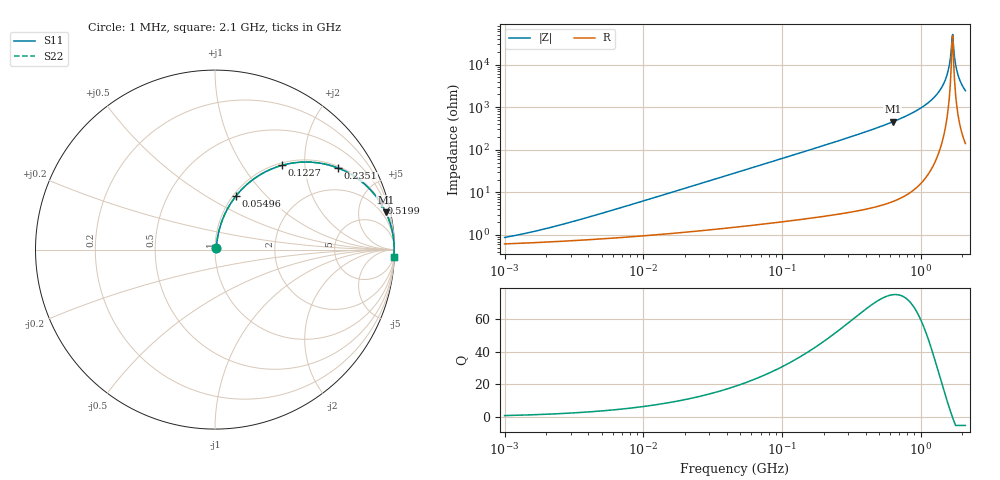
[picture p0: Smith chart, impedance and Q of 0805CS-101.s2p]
# MHz S MA R 50
!Freq  MagS11  AngS11  MagS21  AngS21  MagS12  AngS12  MagS22  AngS22
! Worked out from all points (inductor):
!   801 points, 1 MHz to 2.1 GHz, reference 50 ohm
!   read as one part in series: L = 99 nH near 3.671 MHz
!   highest Q = 74.7 at 629.5 MHz (marker M1), where L = 115 nH
!   self-resonance near 1.685 GHz
!   S11 on the Smith chart (normalised r, x): 1 MHz: 1.01, +0.01; 54.96 MHz: 1.03, +0.68; 122.7 MHz: 1.04, +1.53; 235.1 MHz: 1.06, +2.98; 519.9 MHz: 1.10, +7.14; 2.1 GHz: 4, -49
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1  0.008701 44.9  0.9939 -0.4  0.9939 -0.4  0.008701 44.9
3.601403  0.02346 70.1  0.9923 -1.3  0.9923 -1.3  0.02346 70.1
12.84667  0.0795 78.2  0.9868 -4.5  0.9868 -4.5  0.0795 78.2
45.82576  0.2709 71.3  0.9483 -15.7  0.9483 -15.7  0.2709 71.3
54.95565  0.3195 68.7  0.9326 -18.6  0.9326 -18.6  0.3195 68.7
122.7002  0.6006 51.5  0.7825 -36.9  0.7825 -36.9  0.6006 51.5
165.037  0.7112 43.3  0.686 -45.3  0.686 -45.3  0.7112 43.3
235.0899  0.8231 33.5  0.5519 -55.4  0.5519 -55.4  0.8231 33.5
519.8934  0.9595 15.6  0.2688 -73.6  0.2688 -73.6  0.9595 15.6
588.7085  0.9694 13.5  0.2328 -75.8  0.2328 -75.8  0.9694 13.5
629.4623  0.9739 12.4  0.2144 -76.9  0.2144 -76.9  0.9739 12.4
996.0999  0.9927 6.0  0.1049 -83.0  0.1049 -83.0  0.9927 6.0
1314.418  0.9972 2.8  0.0487 -85.3  0.0487 -85.3  0.9972 2.8
1432.545  0.9978 1.8  0.03209 -85.2  0.03209 -85.2  0.9978 1.8
1517.138  0.9981 1.2  0.02116 -84.2  0.02116 -84.2  0.9981 1.2
1591.435  0.9982 0.7  0.01214 -81.1  0.01214 -81.1  0.9982 0.7
1653.484  0.9982 0.3  0.005092 -69.1  0.005092 -69.1  0.9982 0.3
1685.41  0.9982 0.1  0.002154 -32.1  0.002154 -32.1  0.9982 0.1
1734.458  0.9981 -0.2  0.004673 66.1  0.004673 66.1  0.9981 -0.2
1819.398  0.9979 -0.8  0.01348 80.9  0.01348 80.9  0.9979 -0.8
1890.335  0.9977 -1.2  0.0207 83.1  0.0207 83.1  0.9977 -1.2
2100  0.9968 -2.3  0.04079 84.4  0.04079 84.4  0.9968 -2.3
